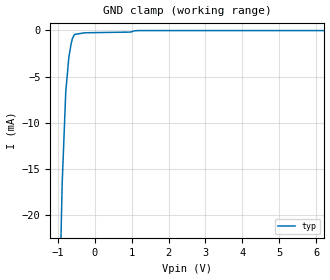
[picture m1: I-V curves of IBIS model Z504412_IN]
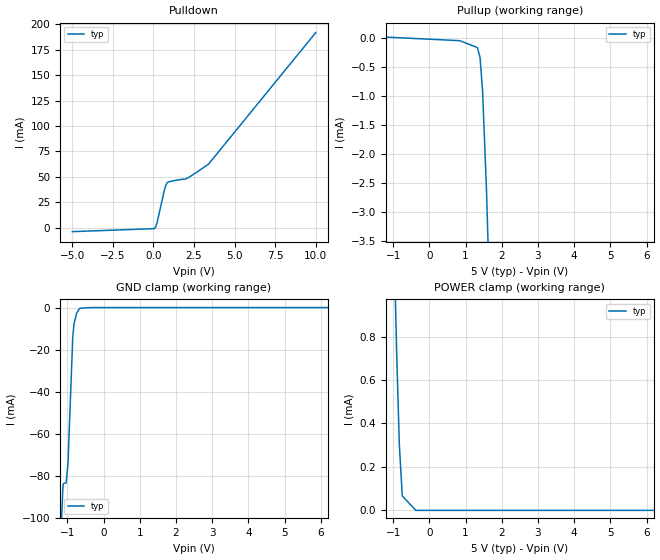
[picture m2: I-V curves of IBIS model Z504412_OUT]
| YOU ARE ONLY AUTHORIZED TO USE THIS SOFTWARE
| ACCORDING TO LICENSOR'S LICENSE RESTRICTIONS.
[IBIS Ver] 3.1
[File Name] sn54ls21j.ibs
[File Rev] 2.0
[Source] Measured and created by ICX Technology
[Date] Friday 7/14/00 9:08:14 AM
[Copyright]
| (C) COPYRIGHT 1993-2000
| MENTOR GRAPHICS CORPORATION
| ICX STANDARD LIBRARY, ICX PROJECT MODELING,
| ICX CUSTOM MODELING, ICX VENDOR MODEL
| ALL RIGHTS RESERVED.
| THE FOLLOWING ARE TRADEMARKS OR SERVICE MARKS OF
| MENTOR GRAPHICS CORPORATION:ICX (R), ICX STANDARD
| LIBRARY(R), ICX PROJECT MODELING(R), ICX CUSTOM
| MODELING(R), qualityIBIS(TM), MODELVIEWER(TM),
| AND MODELEDITOR(TM)
| ALL COPIES OF SOFTWARE, INCLUDING BUT NOT LIMITED TO
| ANY MODIFICATIONS, ENHANCEMENTS OR DERIVATIVE WORKS,
| MUST CONTAIN ALL MENTOR GRAPHICS CORPORATION'S
| NOTICES AND LEGENDS, INCLUDING THOSE EMBEDDED IN
| SOFTWARE AND THOSE AFFIXED TO SOFTWARE MEDIUM
| AND CONTAINER, AS RECEIVED FROM MENTOR GRAPHICS
| CORPORATION.
|  ZAP Model Builder 2.7
[Component] SN54LS21J
[Manufacturer] OnSemiconductor
[Package]
| variable   typ   min   max
R_pkg  .21ohms NA NA
L_pkg  4.543nH NA NA
C_pkg  1.8pF NA NA
[Pin] signal_name  model_name  R_pin  L_pin C_pin
1 A Z504412_IN .22 6.757n 2.434p
2 B Z504412_IN .212 4.757n 1.941p
3 NC NC .204 3.257n 1.448p
4 C Z504412_IN .196 2.257n .955p
5 D Z504412_IN .204 3.257n 1.448p
6 Y Z504412_OUT .212 4.757n 1.941p
7 GND GND .22 6.757n 2.434p
8 Y Z504412_OUT .22 6.757n 2.434p
9 A Z504412_IN .212 4.757n 1.941p
10 B Z504412_IN .204 3.257n 1.448p
11 NC NC .196 2.257n .955p
12 C Z504412_IN .204 3.257n 1.448p
13 D Z504412_IN .212 4.757n 1.941p
14 VCC POWER .22 6.757n 2.434p
| Models and submodels in the file (2): Z504412_IN (Input), Z504412_OUT (Output)
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| (C) COPYRIGHT 1993-2000
| MENTOR GRAPHICS CORPORATION
| ICX STANDARD LIBRARY, ICX PROJECT MODELING,
| ICX CUSTOM MODELING, ICX VENDOR MODEL
| ALL RIGHTS RESERVED.
| THE FOLLOWING ARE TRADEMARKS OR SERVICE MARKS OF
| MENTOR GRAPHICS CORPORATION:ICX (R), ICX STANDARD
| LIBRARY(R), ICX PROJECT MODELING(R), ICX CUSTOM
| MODELING(R), qualityIBIS(TM), MODELVIEWER(TM),
| AND MODELEDITOR(TM)
| ALL COPIES OF SOFTWARE, INCLUDING BUT NOT LIMITED TO
| ANY MODIFICATIONS, ENHANCEMENTS OR DERIVATIVE WORKS,
| MUST CONTAIN ALL MENTOR GRAPHICS CORPORATION'S
| NOTICES AND LEGENDS, INCLUDING THOSE EMBEDDED IN
| SOFTWARE AND THOSE AFFIXED TO SOFTWARE MEDIUM
| AND CONTAINER, AS RECEIVED FROM MENTOR GRAPHICS
| CORPORATION.
| Model Application Version 1.89 2/18/99.
[Model] Z504412_IN
Model_type Input
Vinl = 800.0mV
Vinh = 2.000V
C_comp 4.000pF NA NA
| variable typ   min   max
[Voltage Range] 5.000V NA NA
[GND Clamp Reference] 0.000V NA NA
[POWER Clamp Reference] 5.000V NA NA
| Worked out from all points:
|   GND clamp passes 1 mA (typ) near -0.61 V on its own axis
[GND Clamp]
-5V       -770.1mA   NA         NA
-878.7mV  -16.67mA   NA         NA
-781mV    -6.649mA   NA         NA
-699.2mV  -2.957mA   NA         NA
-633.5mV  -1.39mA    NA         NA
-600.6mV  -880.7uA   NA         NA
-546.9mV  -436.2uA   NA         NA
-273.4mV  -251.6uA   NA         NA
971.5mV   -172.5uA   NA         NA
1.086V    -33.77uA   NA         NA
1.187V    -11.33uA   NA         NA
10V       -11.33uA   NA         NA
[POWER Clamp]
-5V       0A         NA         NA
10V       0A         NA         NA
| (C) COPYRIGHT 1993-2000
| MENTOR GRAPHICS CORPORATION
| ICX STANDARD LIBRARY, ICX PROJECT MODELING,
| ICX CUSTOM MODELING, ICX VENDOR MODEL
| ALL RIGHTS RESERVED.
| THE FOLLOWING ARE TRADEMARKS OR SERVICE MARKS OF
| MENTOR GRAPHICS CORPORATION:ICX (R), ICX STANDARD
| LIBRARY(R), ICX PROJECT MODELING(R), ICX CUSTOM
| MODELING(R), qualityIBIS(TM), MODELVIEWER(TM),
| AND MODELEDITOR(TM)
| ALL COPIES OF SOFTWARE, INCLUDING BUT NOT LIMITED TO
| ANY MODIFICATIONS, ENHANCEMENTS OR DERIVATIVE WORKS,
| MUST CONTAIN ALL MENTOR GRAPHICS CORPORATION'S
| NOTICES AND LEGENDS, INCLUDING THOSE EMBEDDED IN
| SOFTWARE AND THOSE AFFIXED TO SOFTWARE MEDIUM
| AND CONTAINER, AS RECEIVED FROM MENTOR GRAPHICS
| CORPORATION.
| Model Application Version 1.89 2/18/99.
[Model] Z504412_OUT
Model_type Output
Vref=5.000V
Rref=2.000kohms
Cref=15.00pF
Vmeas=1.300V
C_comp 8.000pF NA NA
| variable typ   min   max
[Voltage Range] 5.000V NA NA
[POWER Clamp Reference] 5.000V NA NA
[Pullup Reference] 5.000V NA NA
[Pulldown Reference] 0.000V NA NA
[GND Clamp Reference] 0.000V NA NA
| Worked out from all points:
|   slope of the pulldown table from 0 to 0.75 V, typ, clamps not added: 17.8 ohm
|   slope of the pullup table from 0 to 0.75 V, typ, clamps not added: 32.8 kohm
|   GND clamp passes 1 mA (typ) near -0.69 V on its own axis
|   POWER clamp passes 1 mA (typ) near -0.94 V on its own axis
[GND Clamp]
-5V       -1.801A    NA         NA
-1.13V    -87.5mA    NA         NA
-1.116V   -84.03mA   NA         NA
-1.033V   -83.38mA   NA         NA
-983.5mV  -74.24mA   NA         NA
-851.6mV  -14.06mA   NA         NA
-817.6mV  -7.835mA   NA         NA
-745.7mV  -2.747mA   NA         NA
-683.6mV  -892.1uA   NA         NA
-644.5mV  -290.8uA   NA         NA
10V       0A         NA         NA
[Pulldown]
-5V       -3.892mA   NA         NA
87.89mV   -353uA     NA         NA
131.6mV   632.4uA    NA         NA
224.5mV   5.117mA    NA         NA
683.6mV   37.7mA     NA         NA
761.7mV   41.81mA    NA         NA
839.1mV   44.13mA    NA         NA
958.3mV   45.27mA    NA         NA
2.051V    48.43mA    NA         NA
3.389V    62.52mA    NA         NA
10V       192mA      NA         NA
[Pullup]
-5V       139.5uA    NA         NA
841mV     -38.44uA   NA         NA
1.323V    -156.6uA   NA         NA
1.4V      -321.1uA   NA         NA
1.471V    -911.5uA   NA         NA
1.577V    -2.596mA   NA         NA
10V       -179mA     NA         NA
[POWER Clamp]
-5V       34.26mA    NA         NA
-1.054V   1.814mA    NA         NA
-903mV    718.2uA    NA         NA
-830mV    304uA      NA         NA
-748mV    66.15uA    NA         NA
-374mV    0A         NA         NA
10V       0A         NA         NA
[Ramp]
| variable typ min max
dV/dt_r 1.886/6.417n NA NA
dV/dt_f 1.886/1.343n NA NA
R_load = 500.0Ohms
